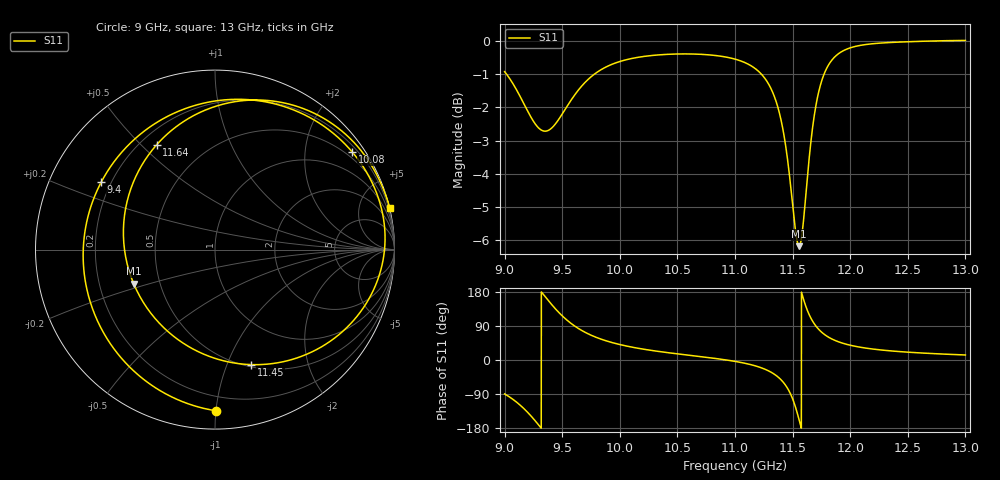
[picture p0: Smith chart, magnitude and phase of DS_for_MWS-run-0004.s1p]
! TOUCHSTONE file generated by CST DESIGN STUDIO
! Date and time: Tue Feb  4 14:10:35 2025
! Project name: C:\Work\MatlabApps\UnitCellOptimizationMatlab\CST\unitcell.cst
! Tree item: Tasks\Sweep1\SPara1\S-Parameters
! Header version: 2024
! Port assignment regex: !\s*Touchstone port\s*([0-9]+)\s*=\s*(CST MWS port|CST DES external port|CST DES block port)\s*(.+)\s* \(\"(.*)\"\)(\s*mode\s*([0-9]+))?.*
! Touchstone port assignment:
! Touchstone port 1 = CST DES external port 1 ("")
# GHz S MA R 50
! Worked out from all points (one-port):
!   4001 points, 9 GHz to 13 GHz, reference 50 ohm
!   lowest |S11| = -6.2 dB at 11.56 GHz (marker M1), VSWR 2.93, Z = 17.7 - j8.87 ohm
!   |S11| at or under -10 dB: nowhere
!   S11 on the Smith chart (normalised r, x): 9 GHz: 0.11, -1.00; 9.4 GHz: 0.16, +0.27; 10.08 GHz: 0.34, +3.11; 11.45 GHz: 0.52, -1.22; 11.64 GHz: 0.26, +0.56; 13 GHz: -0.02, +8.62
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9  0.8983 -89.5
9.128  0.8286 -117.3
9.248  0.7578 -154.2
9.324  0.7331 177.8
9.4  0.737 149.4
9.5  0.7758 116.6
9.605  0.8272 90.3
9.74  0.8792 66.9
9.86  0.9091 52.7
10  0.9303 40.8
10.083  0.9385 35.3
10.5  0.9548 16.2
11  0.9381 -3.6
11.174  0.9083 -15.3
11.292  0.8603 -28.8
11.379  0.7864 -46.3
11.452  0.6715 -72.6
11.5  0.5676 -102.4
11.556  0.4913 -157.2
11.598  0.5439 157.1
11.645  0.6689 119.0
11.709  0.8104 87.1
11.801  0.9123 62.3
11.888  0.9528 49.2
12  0.9753 39.0
12.196  0.9894 28.9
12.5  0.9961 20.7
13  1.001 13.2
